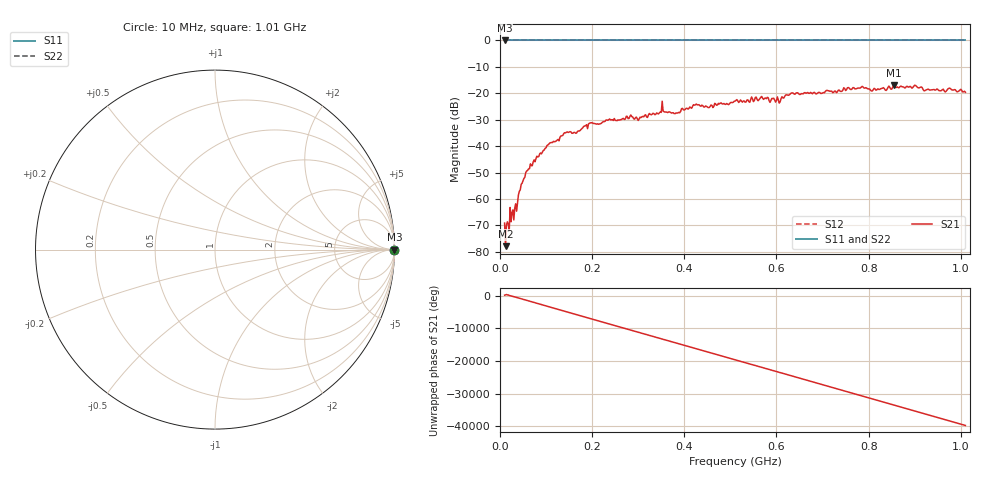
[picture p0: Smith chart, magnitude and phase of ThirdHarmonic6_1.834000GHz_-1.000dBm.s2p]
! 8/16/2025 10:12:44 PM
! C:\ANRITSUVNA\TEMP\TEMP.S2P
! CHANNEL.1
! TR.MEASUREMENT
! RAW.DATA
! RF.CORRECTION.OFF
! AVERAGING.OFF
! IF.BANDWIDTH: 5KHZ
! SWEEPTYPE:  FREQ.SWEEP(Linear)
! Reference Plane Port Info
! PORT:  PORT1  PORT2
! DISTANCE:  0  m  0  m
! TIME:  0  s  0  s
! PHASE.OFFSET:  0  deg.  0  deg.
! LOSS:  0  dB  0  dB
! REF.LOSS:  0  dB  0  dB
! REF.FREQ:  0  Hz  0  Hz
! Power Info
! POWER:  -20  dBm  -20  dBm
! EFF.POWER:  -20  dBm  -20  dBm
! SOURCE.ATTEN:  0  dB  0  dB
! TEST.ATTEN:  0  dB  0  dB
# GHZ S RI R 50.0
! FREQ.GHZ  S11RE  S11IM  S21RE  S21IM  S12RE  S12IM  S22RE  S22IM
!; PortSelection: Port_12
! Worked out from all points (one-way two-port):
!   501 points, 10 MHz to 1.01 GHz, reference 50 ohm
!   highest |S21| = -16.86 dB at 854 MHz (marker M1); lowest = -77.9 dB at 12 MHz (marker M2)
!   lowest |S11| = 0.0 dB at 10 MHz (marker M3)
!   |S11| at or under -10 dB: nowhere
!   |S22| runs from 0.0 to 0.0 dB; largest |S21 - S12| = 1.1
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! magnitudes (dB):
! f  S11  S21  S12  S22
! 10 MHz  0.0  -69.1  0.0  0.0
! 12 MHz  0.0  -77.9  0.0  0.0
! 16 MHz  0.0  -68.6  0.0  0.0
! 18 MHz  0.0  -69.5  0.0  0.0
! 34 MHz  0.0  -61.8  0.0  0.0
! 44 MHz  0.0  -56.5  0.0  0.0
! 54 MHz  0.0  -51.7  0.0  0.0
! 76 MHz  0.0  -45.9  0.0  0.0
! 106 MHz  0.0  -39.2  0.0  0.0
! 142 MHz  0.0  -35.0  0.0  0.0
! 178 MHz  0.0  -33.3  0.0  0.0
! 196 MHz  0.0  -31.2  0.0  0.0
! 344 MHz  0.0  -27.8  0.0  0.0
! 382 MHz  0.0  -27.4  0.0  0.0
! 424 MHz  0.0  -24.4  0.0  0.0
! 510 MHz  0.0  -22.9  0.0  0.0
! 604 MHz  0.0  -22.5  0.0  0.0
! 632 MHz  0.0  -19.9  0.0  0.0
! 678 MHz  0.0  -20.2  0.0  0.0
! 844 MHz  0.0  -17.3  0.0  0.0
! 854 MHz  0.0  -16.9  0.0  0.0
! 1.01 GHz  0.0  -19.6  0.0  0.0
